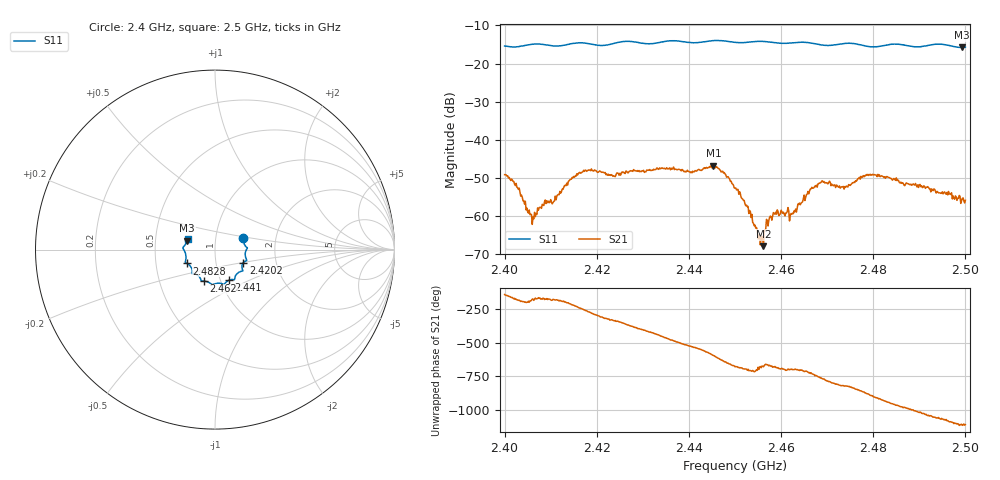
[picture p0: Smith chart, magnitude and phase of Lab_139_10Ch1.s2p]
# Hz S RI R 50
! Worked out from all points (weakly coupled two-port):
!   601 points, 2.4 GHz to 2.5 GHz, reference 50 ohm
!   highest |S21| = -46.88 dB at 2.4453 GHz (marker M1); lowest = -68.0 dB at 2.4562 GHz (marker M2)
!   lowest |S11| = -15.8 dB at 2.4992 GHz (marker M3), VSWR 1.39, Z = 36.4 + j3.7 ohm
!   |S11| at or under -10 dB: start of sweep to end of sweep
!   S12 and S22 are empty: the file has one direction only
!   S11 on the Smith chart (normalised r, x): 2.4 GHz: 1.36, +0.17; 2.4202 GHz: 1.36, -0.20; 2.441 GHz: 1.10, -0.39; 2.462 GHz: 0.84, -0.30; 2.4828 GHz: 0.72, -0.11; 2.5 GHz: 0.73, +0.09
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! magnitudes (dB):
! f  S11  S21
! 2.4 GHz  -15.4  -49.2
! 2.4028 GHz  -15.6  -52.7
! 2.4062 GHz  -14.9  -60.3
! 2.4167 GHz  -14.6  -48.7
! 2.4202 GHz  -15.2  -48.6
! 2.4333 GHz  -14.5  -47.8
! 2.441 GHz  -14.5  -48.5
! 2.4453 GHz  -14.0  -46.9
! 2.45 GHz  -14.4  -52.8
! 2.4532 GHz  -14.4  -58.6
! 2.4553 GHz  -14.2  -64.8
! 2.4562 GHz  -14.2  -68.0
! 2.4573 GHz  -14.3  -61.3
! 2.4588 GHz  -14.6  -59.1
! 2.462 GHz  -14.6  -59.9
! 2.4667 GHz  -14.6  -52.6
! 2.474 GHz  -14.7  -52.6
! 2.4788 GHz  -15.5  -49.1
! 2.4828 GHz  -15.1  -49.7
! 2.4833 GHz  -15.0  -50.0
! 2.4992 GHz  -15.8  -56.1
! 2.5 GHz  -15.7  -56.0
